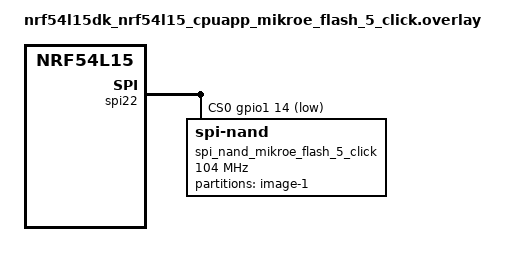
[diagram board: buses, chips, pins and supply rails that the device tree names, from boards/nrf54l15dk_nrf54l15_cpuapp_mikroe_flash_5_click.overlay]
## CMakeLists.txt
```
#
# Copyright 2025 NXP
#
# SPDX-License-Identifier: Apache-2.0
#

cmake_minimum_required(VERSION 3.28.0)
find_package(Zephyr REQUIRED HINTS $ENV{ZEPHYR_BASE})
project(interface_test)

target_sources(app PRIVATE src/main.c)
```

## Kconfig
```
# Copyright 2025 NXP
# SPDX-FileCopyrightText: Copyright (c) 2026 Infineon Technologies AG,
# SPDX-FileCopyrightText: or an affiliate of Infineon Technologies AG. All rights reserved.
#
# SPDX-License-Identifier: Apache-2.0

config TEST_FLASH_PATTERN_SIZE
	int "Flash interface test pattern size"
	default 256

config TEST_SEQUENTIAL_READ_PATTERN_AMOUNT
	int "Perform amount of sequential-read-pattern tests"
	default 1000000

config TEST_SEQUENTIAL_ALTERNATING_READ_PATTERN_AMOUNT
	int "Perform amount of sequential-alternating-read-pattern tests"
	default 1000000

source "Kconfig.zephyr"
```

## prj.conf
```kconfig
#
# Copyright 2025 NXP
#
# SPDX-License-Identifier: Apache-2.0
#

CONFIG_FLASH=y
CONFIG_ZTEST=y
```

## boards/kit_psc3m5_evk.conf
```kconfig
# SPDX-FileCopyrightText: Copyright (c) 2026 Infineon Technologies AG,
# SPDX-FileCopyrightText: or an affiliate of Infineon Technologies AG. All rights reserved.
#
# SPDX-License-Identifier: Apache-2.0

CONFIG_TEST_FLASH_PATTERN_SIZE=512
```

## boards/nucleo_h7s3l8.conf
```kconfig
# Copyright (c) 2026 EXALT Technologies
# SPDX-License-Identifier: Apache-2.0

CONFIG_LOG=y
CONFIG_MSPI=y
CONFIG_MSPI_LOG_LEVEL_INF=y
CONFIG_HEAP_MEM_POOL_SIZE=8192
```

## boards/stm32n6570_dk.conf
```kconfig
# Copyright (c) 2026 EXALT Technologies
# SPDX-License-Identifier: Apache-2.0

CONFIG_MSPI=y
CONFIG_LOG=y
CONFIG_MSPI_LOG_LEVEL_INF=y
```

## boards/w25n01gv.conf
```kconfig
CONFIG_TEST_FLASH_PATTERN_SIZE=2048
```

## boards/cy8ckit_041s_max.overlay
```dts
/*
 * SPDX-FileCopyrightText: Copyright (c) 2026 Infineon Technologies AG,
 * SPDX-FileCopyrightText: or an affiliate of Infineon Technologies AG. All rights reserved.
 *
 * SPDX-License-Identifier: Apache-2.0
 */

&flash0 {
	status = "okay";

	partitions {
		#address-cells = <1>;
		#size-cells = <1>;
		compatible = "fixed-partitions";

		/* Test partition for flash driver interface test */
		slot1_partition: partition@10000 {
			label = "slot1";
			reg = <0x10000 DT_SIZE_K(64)>;
		};
	};
};
```

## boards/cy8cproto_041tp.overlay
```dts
/*
 * SPDX-FileCopyrightText: Copyright (c) 2026 Infineon Technologies AG,
 * SPDX-FileCopyrightText: or an affiliate of Infineon Technologies AG. All rights reserved.
 *
 * SPDX-License-Identifier: Apache-2.0
 */

&flash0 {
	status = "okay";

	partitions {
		compatible = "fixed-partitions";
		#address-cells = <1>;
		#size-cells = <1>;

		/* Test partition for flash driver interface test */
		slot1_partition: partition@10000 {
			reg = <0x10000 DT_SIZE_K(64)>;
			label = "slot1";
		};
	};
};
```

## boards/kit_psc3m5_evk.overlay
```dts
/*
 * SPDX-FileCopyrightText: Copyright (c) 2026 Infineon Technologies AG,
 * SPDX-FileCopyrightText: or an affiliate of Infineon Technologies AG. All rights reserved.
 *
 * SPDX-License-Identifier: Apache-2.0
 */

&slot0_ns_partition {
	reg = <0x20000 DT_SIZE_K(96)>;
};

&flash0 {
	status = "okay";

	partitions {
		ranges;
		#address-cells = <1>;
		#size-cells = <1>;

		slot1_partition: partition@38000 {
			compatible = "zephyr,mapped-partition";
			label = "storage";
			reg = <0x38000 DT_SIZE_K(32)>;
		};
	};
};
```

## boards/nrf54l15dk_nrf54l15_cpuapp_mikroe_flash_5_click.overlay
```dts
/*
 * Copyright (c) 2026 Nordic Semiconductor ASA
 *
 * SPDX-License-Identifier: Apache-2.0
 */

/delete-node/ &slot1_partition;

mikrobus_spi: &spi22 {
	status = "okay";
	pinctrl-0 = <&spi22_default>;
	pinctrl-1 = <&spi22_sleep>;
	pinctrl-names = "default", "sleep";
	cs-gpios = <&gpio1 14 GPIO_ACTIVE_LOW>;
	overrun-character = <0x00>;

	spi_nand_mikroe_flash_5_click: spi-nand@0 {
		compatible = "jedec,spi-nand";
		reg = <0>;
		status = "okay";
		spi-max-frequency = <104000000>;

		/* w25n01gv parameters */
		jedec-id = [ef aa 21];
		size-bytes = <DT_SIZE_M(128)>;
		plane-bytes = <DT_SIZE_M(128)>;
		erase-block-size = <DT_SIZE_K(128)>;
		write-block-size = <DT_SIZE_K(2)>;
		block-erase-duration-max = <10000>;
		page-program-duration-max = <700>;
		page-read-duration-max = <200>;
		reset-duration-max = <500>;

		partitions {
			compatible = "fixed-partitions";
			#address-cells = <1>;
			#size-cells = <1>;

			slot1_partition: partition@0 {
				label = "image-1";
				reg = <0x0 DT_SIZE_M(2)>;
			};
		};
	};
};
```

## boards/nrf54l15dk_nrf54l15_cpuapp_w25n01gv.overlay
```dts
/*
 * Copyright (c) 2026 Nordic Semiconductor ASA
 *
 * SPDX-License-Identifier: Apache-2.0
 */

/delete-node/ &slot1_partition;

&spi22 {
	status = "okay";
	pinctrl-0 = <&spi22_default>;
	pinctrl-1 = <&spi22_sleep>;
	pinctrl-names = "default", "sleep";
	cs-gpios = <&gpio1 14 GPIO_ACTIVE_LOW>;
	overrun-character = <0x00>;

	w25n01gv: spi-nand@0 {
		compatible = "jedec,spi-nand";
		reg = <0>;
		status = "okay";
		spi-max-frequency = <104000000>;

		/* w25n01gv parameters */
		jedec-id = [ef aa 21];
		size-bytes = <DT_SIZE_M(128)>;
		plane-bytes = <DT_SIZE_M(128)>;
		erase-block-size = <DT_SIZE_K(128)>;
		write-block-size = <DT_SIZE_K(2)>;
		block-erase-duration-max = <10000>;
		page-program-duration-max = <700>;
		page-read-duration-max = <200>;
		reset-duration-max = <500>;

		partitions {
			compatible = "fixed-partitions";
			#address-cells = <1>;
			#size-cells = <1>;

			slot1_partition: partition@0 {
				label = "image-1";
				reg = <0x0 DT_SIZE_M(2)>;
			};
		};
	};
};
```

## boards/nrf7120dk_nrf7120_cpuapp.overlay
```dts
/*
 * Copyright (c) 2026 Nordic Semiconductor ASA
 *
 * SPDX-License-Identifier: Apache-2.0
 */

&mspi00 {
	status = "okay";
};

/delete-node/ &slot1_partition;

&mx25u25645g {
	status = "okay";

	partitions {
		compatible = "fixed-partitions";
		#address-cells = <1>;
		#size-cells = <1>;

		slot1_partition: partition@0 {
			reg = <0x0 DT_SIZE_K(680)>;
			label = "image-1";
		};
	};
};
```

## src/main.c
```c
/*
 * Copyright 2025 NXP
 * SPDX-FileCopyrightText: Copyright (c) 2026 Infineon Technologies AG,
 * SPDX-FileCopyrightText: or an affiliate of Infineon Technologies AG. All rights reserved.
 *
 * SPDX-License-Identifier: Apache-2.0
 */

#include <zephyr/ztest.h>
#include <zephyr/drivers/flash.h>
#include <zephyr/devicetree.h>
#include <zephyr/storage/flash_map.h>

#ifdef CONFIG_BOOTLOADER_MCUBOOT
#define TEST_FLASH_PART_NODE DT_NODELABEL(boot_partition)
#else
#define TEST_FLASH_PART_NODE DT_NODELABEL(slot1_partition)
#endif

#define TEST_FLASH_PART_OFFSET PARTITION_NODE_OFFSET(TEST_FLASH_PART_NODE)
#define TEST_FLASH_PART_SIZE   DT_REG_SIZE(TEST_FLASH_PART_NODE)

#define TEST_FLASH_CONTROLLER_NODE DT_MTD_FROM_PARTITION(TEST_FLASH_PART_NODE)

#define PATTERN_SIZE CONFIG_TEST_FLASH_PATTERN_SIZE


static const struct device *flash_controller = DEVICE_DT_GET(TEST_FLASH_CONTROLLER_NODE);

static uint8_t pattern[PATTERN_SIZE];

static const off_t test_area_offset = TEST_FLASH_PART_OFFSET;
static const size_t test_area_size = TEST_FLASH_PART_SIZE & ~(PATTERN_SIZE - 1);
static const off_t test_area_end = test_area_offset + test_area_size;
static const size_t number_of_slots = test_area_size / PATTERN_SIZE;

static int verify_block(off_t pos, uint8_t *expected_data, size_t size)
{
	static uint8_t buffer[PATTERN_SIZE];

	if (flash_read(flash_controller, pos, buffer, size) != 0) {
		return -EIO;
	}

	if (memcmp(expected_data, buffer, size) != 0) {
		return -EBADMSG;
	}

	return 0;
}

static void *flash_setup(void)
{
	bool pattern_available = true;

	TC_PRINT("test_area_size = %zu MB\n", test_area_size >> 20);
	TC_PRINT("test device = %s\n", flash_controller->name);

	zassert_true(device_is_ready(flash_controller));

	/* Initialize pattern */
	for (int i = 0; i < sizeof(pattern); i++) {
		pattern[i] = i;
	}

	for (off_t pos = test_area_offset; pos < test_area_end; pos += PATTERN_SIZE) {
		int res = verify_block(pos, pattern, sizeof(pattern));

		if (res == -EBADMSG) {
			pattern_available = false;
			break;
		} else if (res < 0) {
			/* fail at any other errors */
			zassert_ok(res);
			return NULL;
		}
	}

	if (!pattern_available) {
		TC_PRINT("Erasing test area\n");
		zassert_ok(flash_erase(flash_controller, TEST_FLASH_PART_OFFSET, test_area_size));

		TC_PRINT("Writing pattern\n");
		for (off_t pos = test_area_offset; pos < test_area_end; pos += PATTERN_SIZE) {
			zassert_ok(flash_write(flash_controller, pos, pattern, sizeof(pattern)));
		}
	} else {
		TC_PRINT("Pattern is already available\n");
	}

	return NULL;
}

ZTEST(flash_interface, test_sequential_read_pattern)
{
	int amount = CONFIG_TEST_SEQUENTIAL_READ_PATTERN_AMOUNT;
	off_t slot = 0;

	zassert_not_equal(number_of_slots, 0);

	for (int i = 0; i < amount; i++) {
		if ((i & 255) == 0) {
			TC_PRINT("Verifying pattern sequentially (%i/%i)\n", i + 1, amount);
		}
		zassert_ok(verify_block(test_area_offset + (slot * PATTERN_SIZE), pattern,
					sizeof(pattern)));
		slot = (slot + 1) % number_of_slots;
	}
}

ZTEST(flash_interface, test_sequential_alternating_read_pattern)
{
	int amount = CONFIG_TEST_SEQUENTIAL_ALTERNATING_READ_PATTERN_AMOUNT;
	off_t slot1 = 0;
	off_t slot2 = number_of_slots / 2;

	zassert_not_equal(number_of_slots, 0);

	for (int i = 0; i < amount; i++) {
		if ((i & 255) == 0) {
			TC_PRINT(
					"Verifying pattern sequentially on alternating positions (%i/%i)\n",
					i + 1, amount);
		}
		zassert_ok(verify_block(test_area_offset + (slot1 * PATTERN_SIZE), pattern,
					sizeof(pattern)));
		zassert_ok(verify_block(test_area_offset + (slot2 * PATTERN_SIZE), pattern,
					sizeof(pattern)));
		slot1 = (slot1 + 1) % number_of_slots;
		slot2 = (slot2 + 1) % number_of_slots;
	}
}

ZTEST_SUITE(flash_interface, NULL, flash_setup, NULL, NULL, NULL);
```
